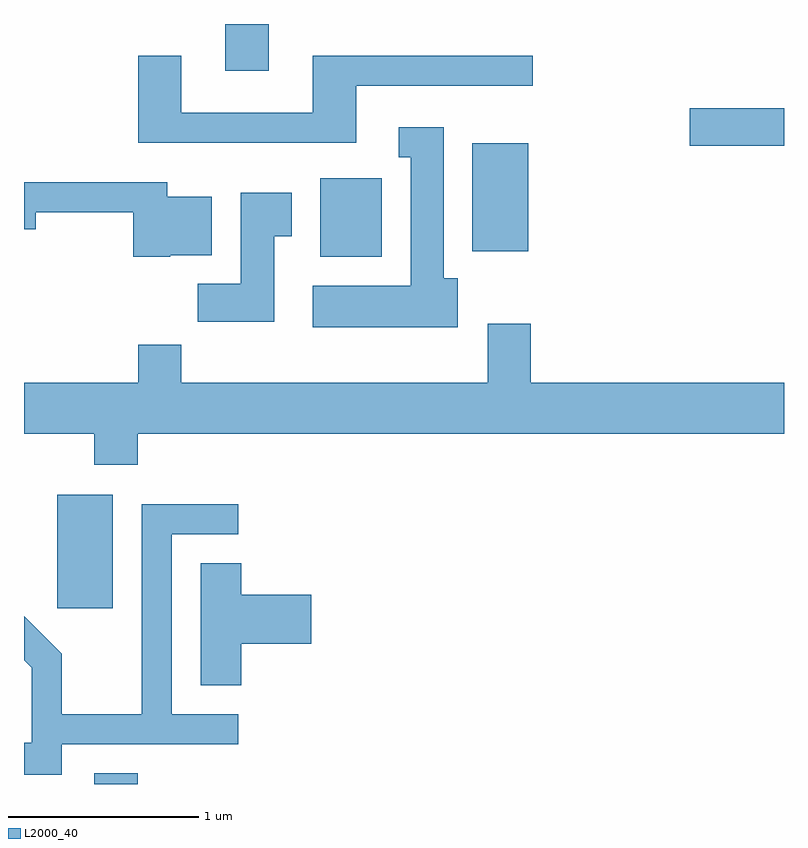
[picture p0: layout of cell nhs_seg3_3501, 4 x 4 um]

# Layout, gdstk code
import gdstk
lib = gdstk.Library(unit=1e-6, precision=1e-09)
def R(c, l, rs):  # rectangles x0, y0, x1, y1
    for r in rs: c.add(gdstk.rectangle(r[:2], r[2:], *l))
def P(c, l, *ps):  # polygons
    for p in ps: c.add(gdstk.Polygon(p, *l))
L2000_40 = (2000, 40)

nhs_seg3_3501 = lib.new_cell('nhs_seg3_3501')
R(nhs_seg3_3501, L2000_40, [(287.981,1181.892,288.209,1181.949), (287.786,1182.816,288.079,1183.414), (289.171,1184.666,289.494,1185.079), (289.971,1184.696,290.264,1185.264), (291.116,1185.251,291.611,1185.449), (288.671,1185.646,288.899,1185.892)])
P(nhs_seg3_3501, L2000_40, [(289.359,1185.566),(290.288,1185.566),(290.288,1185.724),(289.131,1185.724),(289.131,1185.424),(288.439,1185.424),(288.439,1185.724),(288.211,1185.724),(288.211,1185.266),(289.359,1185.266)],
  [(289.894,1184.554),(289.819,1184.554),(289.819,1185.349),(289.583,1185.349),(289.583,1185.191),(289.646,1185.191),(289.646,1184.514),(289.131,1184.514),(289.131,1184.296),(289.894,1184.296)],
  [(288.38,1184.676),(288.599,1184.676),(288.599,1184.984),(288.364,1184.984),(288.364,1185.059),(287.611,1185.059),(287.611,1184.811),(287.674,1184.811),(287.674,1184.901),(288.186,1184.901),(288.186,1184.666),(288.38,1184.666)],
  [(288.929,1184.776),(289.019,1184.776),(289.019,1185.004),(288.751,1185.004),(288.751,1184.524),(288.526,1184.524),(288.526,1184.326),(288.929,1184.326)],
  [(288.209,1183.736),(291.611,1183.736),(291.611,1184.004),(290.279,1184.004),(290.279,1184.314),(290.051,1184.314),(290.051,1184.004),(288.439,1184.004),(288.439,1184.204),(288.211,1184.204),(288.211,1184.004),(287.611,1184.004),(287.611,1183.736),(287.981,1183.736),(287.981,1183.571),(288.209,1183.571)],
  [(287.809,1182.101),(288.738,1182.101),(288.738,1182.259),(288.389,1182.259),(288.389,1183.206),(288.738,1183.206),(288.738,1183.364),(288.231,1183.364),(288.231,1182.259),(287.809,1182.259),(287.809,1182.577),(287.611,1182.775),(287.611,1182.544),(287.651,1182.504),(287.651,1182.109),(287.611,1182.109),(287.611,1181.941),(287.809,1181.941)],
  [(288.754,1182.631),(289.124,1182.631),(289.124,1182.889),(288.754,1182.889),(288.754,1183.054),(288.541,1183.054),(288.541,1182.411),(288.754,1182.411)])

lib.write_gds('nhs_seg3_3501.gds')
